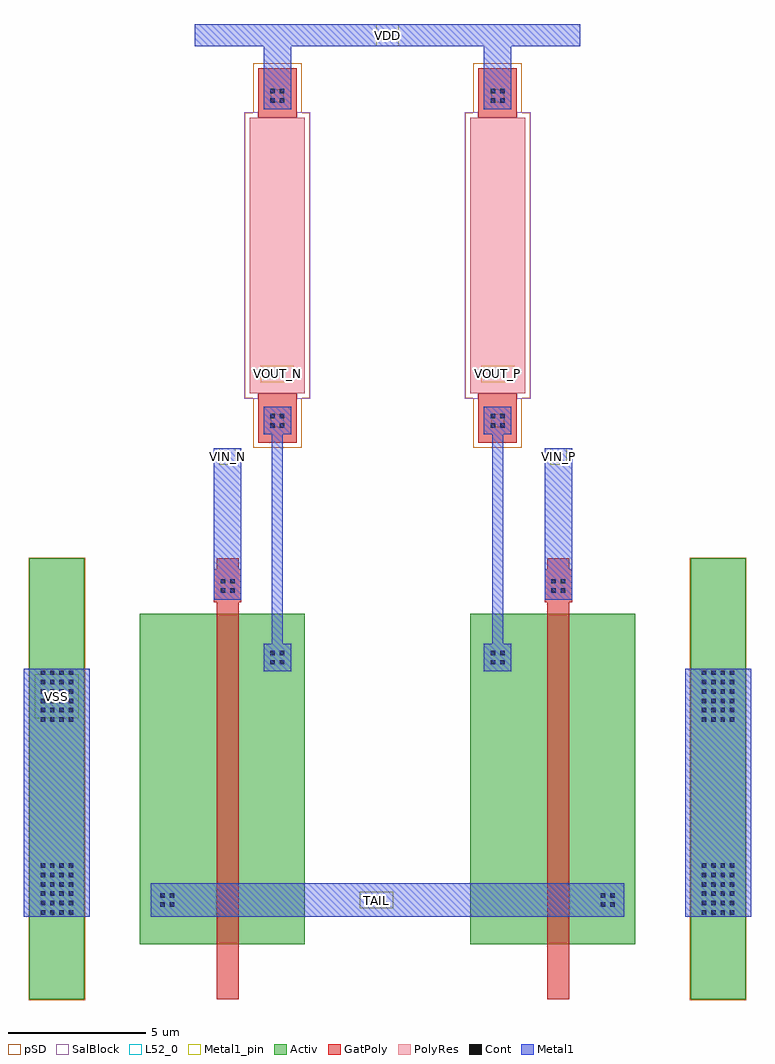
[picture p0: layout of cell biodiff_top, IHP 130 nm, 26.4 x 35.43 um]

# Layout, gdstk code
import gdstk
lib = gdstk.Library(unit=1e-6, precision=1e-09)
def R(c, l, rs):  # rectangles x0, y0, x1, y1
    for r in rs: c.add(gdstk.rectangle(r[:2], r[2:], *l))
def A(c, l, x, y, w, h, nx, ny, dx, dy):  # array of equal rectangles
    R(c, l, [(x+i*dx, y+j*dy, x+i*dx+w, y+j*dy+h) for i in range(nx) for j in range(ny)])
Activ = (1, 0)
GatPoly = (5, 0)
Cont = (6, 0)
Metal1 = (8, 0)
Metal1_pin = (8, 2)
pSD = (14, 0)
SalBlock = (28, 0)
L52_0 = (52, 0)
PolyRes = (128, 0)

biodiff_top = lib.new_cell('biodiff_top')
R(biodiff_top, Activ, [(2,8,4,24), (26,8,28,24), (6,10,12,22), (18,10,24,22)])
R(biodiff_top, GatPoly, [(8.8,8,9.6,22.4), (20.8,8,21.6,22.4), (8.7,22.4,9.7,23.6), (20.7,22.4,21.7,23.6), (8.8,23.6,9.6,24), (20.8,23.6,21.6,24), (10.3,28.2,11.7,30), (18.3,28.2,19.7,30), (10.3,40,11.7,41.8), (18.3,40,19.7,41.8)])
A(biodiff_top, Cont, 2.41, 11.07, 0.16, 0.16, 4, 6, 0.34, 0.34)
A(biodiff_top, Cont, 26.41, 11.07, 0.16, 0.16, 4, 6, 0.34, 0.34)
A(biodiff_top, Cont, 2.41, 18.07, 0.16, 0.16, 4, 6, 0.34, 0.34)
A(biodiff_top, Cont, 26.41, 18.07, 0.16, 0.16, 4, 6, 0.34, 0.34)
R(biodiff_top, Cont, [(6.75,11.35,6.91,11.51), (7.09,11.35,7.25,11.51), (22.75,11.35,22.91,11.51), (23.09,11.35,23.25,11.51), (6.75,11.69,6.91,11.85), (7.09,11.69,7.25,11.85), (22.75,11.69,22.91,11.85), (23.09,11.69,23.25,11.85), (10.75,20.15,10.91,20.31), (11.09,20.15,11.25,20.31), (18.75,20.15,18.91,20.31), (19.09,20.15,19.25,20.31), (10.75,20.49,10.91,20.65), (11.09,20.49,11.25,20.65), (18.75,20.49,18.91,20.65), (19.09,20.49,19.25,20.65), (8.95,22.75,9.11,22.91), (9.29,22.75,9.45,22.91), (20.95,22.75,21.11,22.91), (21.29,22.75,21.45,22.91), (8.95,23.09,9.11,23.25), (9.29,23.09,9.45,23.25), (20.95,23.09,21.11,23.25), (21.29,23.09,21.45,23.25), (10.75,28.75,10.91,28.91), (11.09,28.75,11.25,28.91), (18.75,28.75,18.91,28.91), (19.09,28.75,19.25,28.91), (10.75,29.09,10.91,29.25), (11.09,29.09,11.25,29.25), (18.75,29.09,18.91,29.25), (19.09,29.09,19.25,29.25), (10.75,40.55,10.91,40.71), (11.09,40.55,11.25,40.71), (18.75,40.55,18.91,40.71), (19.09,40.55,19.25,40.71), (10.75,40.89,10.91,41.05), (11.09,40.89,11.25,41.05), (18.75,40.89,18.91,41.05), (19.09,40.89,19.25,41.05)])
R(biodiff_top, Metal1, [(1.8,11,4.2,20), (6.4,11,23.6,12.2), (25.8,11,28.2,20), (10.5,19.9,11.5,20.9), (18.5,19.9,19.5,20.9), (10.8,20.9,11.2,28.5), (18.8,20.9,19.2,28.5), (8.7,22.5,9.7,28), (20.7,22.5,21.7,28), (10.5,28.5,11.5,29.5), (18.5,28.5,19.5,29.5), (10.5,40.3,11.5,42.6), (18.5,40.3,19.5,42.6), (8,42.6,22,43.4)])
R(biodiff_top, Metal1_pin, [(14,11.3,15.2,11.9), (2.2,18.2,3.8,19.8), (8.9,27.4,9.5,28), (20.9,27.4,21.5,28), (10.4,30.4,11.6,31), (18.4,30.4,19.6,31), (14.6,42.6,15.4,43.4)])
R(biodiff_top, pSD, [(1.97,7.97,4.03,24.03), (25.97,7.97,28.03,24.03), (10.12,28.02,11.88,28.78), (18.12,28.02,19.88,28.78), (10.12,28.78,10.78,29.22), (11.22,28.78,11.88,29.22), (18.12,28.78,18.78,29.22), (19.22,28.78,19.88,29.22), (10.12,29.22,11.88,29.82), (18.12,29.22,19.88,29.82), (9.82,29.82,12.18,40.18), (17.82,29.82,20.18,40.18), (10.12,40.18,11.88,40.58), (18.12,40.18,19.88,40.58), (10.12,40.58,10.78,41.02), (11.22,40.58,11.88,41.02), (18.12,40.58,18.78,41.02), (19.22,40.58,19.88,41.02), (10.12,41.02,11.88,41.98), (18.12,41.02,19.88,41.98)])
R(biodiff_top, SalBlock, [(9.8,29.8,10.3,30), (11.7,29.8,12.2,30), (17.8,29.8,18.3,30), (19.7,29.8,20.2,30), (9.8,30,12.2,40), (17.8,30,20.2,40), (9.8,40,10.3,40.2), (11.7,40,12.2,40.2), (17.8,40,18.3,40.2), (19.7,40,20.2,40.2)])
R(biodiff_top, L52_0, [(10,30,12,40), (18,30,20,40)])
R(biodiff_top, PolyRes, [(10,30,12,40), (18,30,20,40)])
biodiff_top.add(gdstk.Label('VIN_N', (9.2,27.7), layer=8, texttype=25))
biodiff_top.add(gdstk.Label('VIN_P', (21.2,27.7), layer=8, texttype=25))
biodiff_top.add(gdstk.Label('VOUT_N', (11,30.7), layer=8, texttype=25))
biodiff_top.add(gdstk.Label('VOUT_P', (19,30.7), layer=8, texttype=25))
biodiff_top.add(gdstk.Label('VDD', (15,43), layer=8, texttype=25))
biodiff_top.add(gdstk.Label('TAIL', (14.6,11.6), layer=8, texttype=25))
biodiff_top.add(gdstk.Label('VSS', (3,19), layer=8, texttype=25))

lib.write_gds('biodiff_top.gds')
